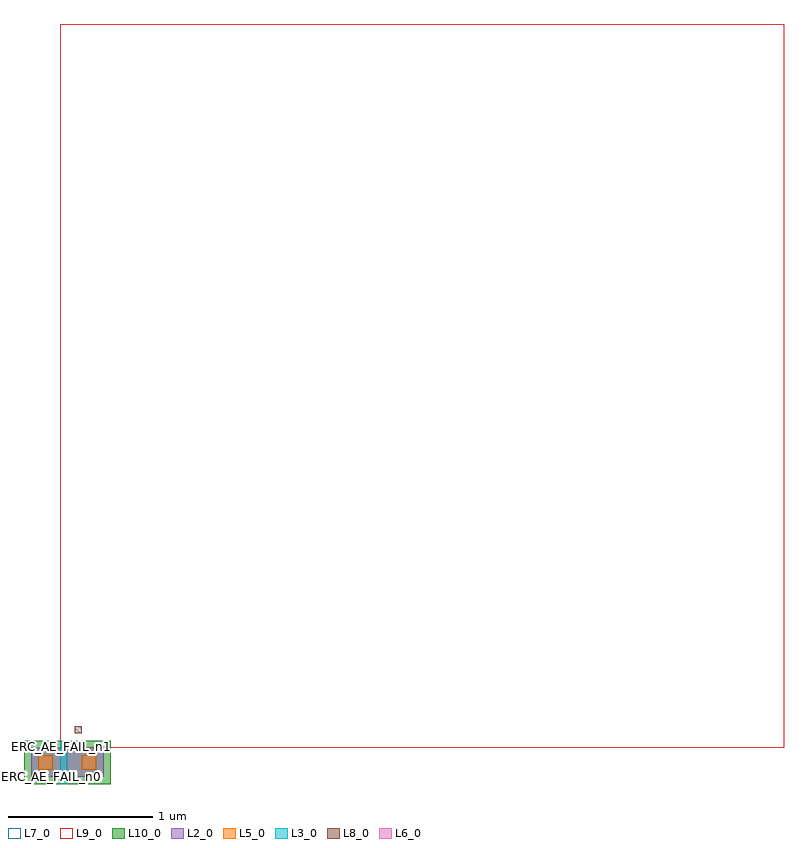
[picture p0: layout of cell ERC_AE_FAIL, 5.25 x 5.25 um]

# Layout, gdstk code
import gdstk
lib = gdstk.Library(unit=1e-6, precision=1e-09)
def R(c, l, rs):  # rectangles x0, y0, x1, y1
    for r in rs: c.add(gdstk.rectangle(r[:2], r[2:], *l))
L2_0 = (2, 0)
L3_0 = (3, 0)
L5_0 = (5, 0)
L6_0 = (6, 0)
L7_0 = (7, 0)
L8_0 = (8, 0)
L9_0 = (9, 0)
L10_0 = (10, 0)

erc_ae_fail = lib.new_cell('ERC_AE_FAIL')
R(erc_ae_fail, L2_0, [(0,0,0.5,0.2)])
R(erc_ae_fail, L3_0, [(0.2,-0.05,0.25,0.25)])
R(erc_ae_fail, L5_0, [(0.05,0.05,0.15,0.15), (0.35,0.05,0.45,0.15), (0.21,0.21,0.24,0.24)])
R(erc_ae_fail, L6_0, [(0.215,0.215,0.235,0.235)])
R(erc_ae_fail, L7_0, [(0.2,0.2,5.2,5.2)])
R(erc_ae_fail, L8_0, [(0.3,0.3,0.35,0.35)])
R(erc_ae_fail, L9_0, [(0.2,0.2,5.2,5.2)])
R(erc_ae_fail, L10_0, [(-0.05,-0.05,0.55,0.25)])
erc_ae_fail.add(gdstk.Label('ERC_AE_FAIL_n0', (0,0), layer=2, texttype=5))
erc_ae_fail.add(gdstk.Label('ERC_AE_FAIL_n1', (0.21,0.21), layer=5, texttype=5))
erc_ae_fail.add(gdstk.Label('ERC_AE_FAIL_n2', (0.05,0.05), layer=5, texttype=5))
erc_ae_fail.add(gdstk.Label('ERC_AE_FAIL_n3', (0.35,0.05), layer=5, texttype=5))
erc_ae_fail.add(gdstk.Label('ERC_AE_FAIL_n4', (0.2,-0.05), layer=3, texttype=5))

lib.write_gds('ERC_AE_FAIL.gds')
